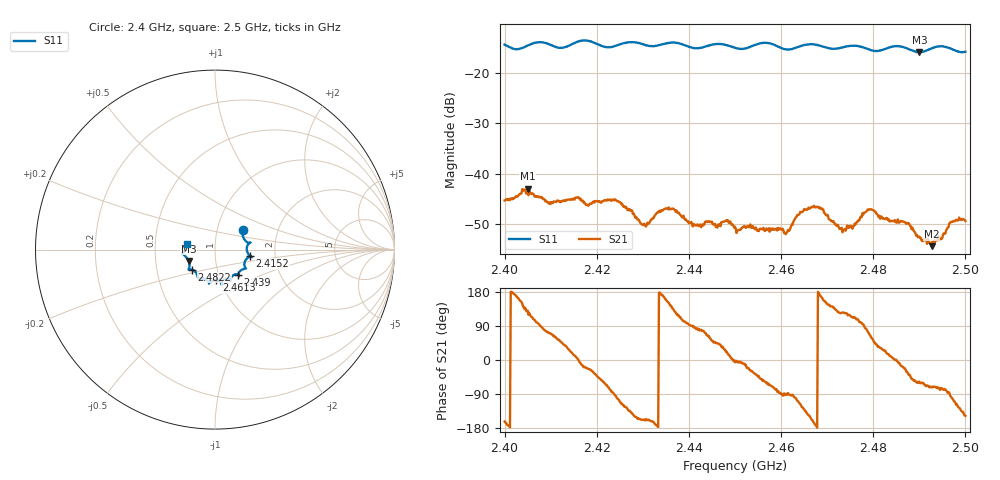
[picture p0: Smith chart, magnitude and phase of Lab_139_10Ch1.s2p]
# Hz S RI R 50
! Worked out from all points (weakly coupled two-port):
!   601 points, 2.4 GHz to 2.5 GHz, reference 50 ohm
!   highest |S21| = -42.96 dB at 2.405 GHz (marker M1); lowest = -54.3 dB at 2.4927 GHz (marker M2)
!   lowest |S11| = -15.9 dB at 2.49 GHz (marker M3), VSWR 1.38, Z = 36.9 - j4.84 ohm
!   |S11| at or under -10 dB: start of sweep to end of sweep
!   S12 and S22 are empty: the file has one direction only
!   S11 on the Smith chart (normalised r, x): 2.4 GHz: 1.33, +0.30; 2.4152 GHz: 1.48, -0.11; 2.439 GHz: 1.24, -0.36; 2.4613 GHz: 0.96, -0.34; 2.4822 GHz: 0.76, -0.17; 2.5 GHz: 0.72, +0.05
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2.4e9  0.1552 0.1103  -0.00519 -0.00167  0 0  0 0
2.405e9  0.1817 0.0391  -0.00463 0.0054  0 0  0 0
2.409667e9  0.1891 0.035  0.00162 0.00481  0 0  0 0
2.415167e9  0.1947 -0.0358  0.00544 0.00113  0 0  0 0
2.416667e9  0.2046 -0.0416  0.00529 -0.00111  0 0  0 0
2.424167e9  0.1637 -0.0874  -0.000491 -0.00547  0 0  0 0
2.430333e9  0.1552 -0.11  -0.00295 -0.00124  0 0  0 0
2.433333e9  0.1321 -0.1328  -0.00413 -0.000213  0 0  0 0
2.436167e9  0.1344 -0.1476  -0.00357 0.0027  0 0  0 0
2.439e9  0.1278 -0.139  -0.000744 0.00356  0 0  0 0
2.45e9  0.0685 -0.1635  0.00297 -0.000314  0 0  0 0
2.461333e9  0.00703 -0.1703  -8.05e-05 -0.00266  0 0  0 0
2.466667e9  -0.0335 -0.1896  -0.00437 -0.00176  0 0  0 0
2.4735e9  -0.0819 -0.1602  -0.00158 0.00226  0 0  0 0
2.479167e9  -0.1011 -0.1363  0.00169 0.00406  0 0  0 0
2.482167e9  -0.128 -0.112  0.00324 0.00162  0 0  0 0
2.483333e9  -0.1392 -0.1106  0.00342 0.00095  0 0  0 0
2.487333e9  -0.1432 -0.1002  0.00276 -0.00165  0 0  0 0
2.49e9  -0.147 -0.0638  0.0013 -0.00201  0 0  0 0
2.492667e9  -0.1724 -0.0303  0.000578 -0.00183  0 0  0 0
2.497e9  -0.1724 -0.0114  -0.000512 -0.00331  0 0  0 0
2.5e9  -0.1585 0.0337  -0.00288 -0.00184  0 0  0 0
